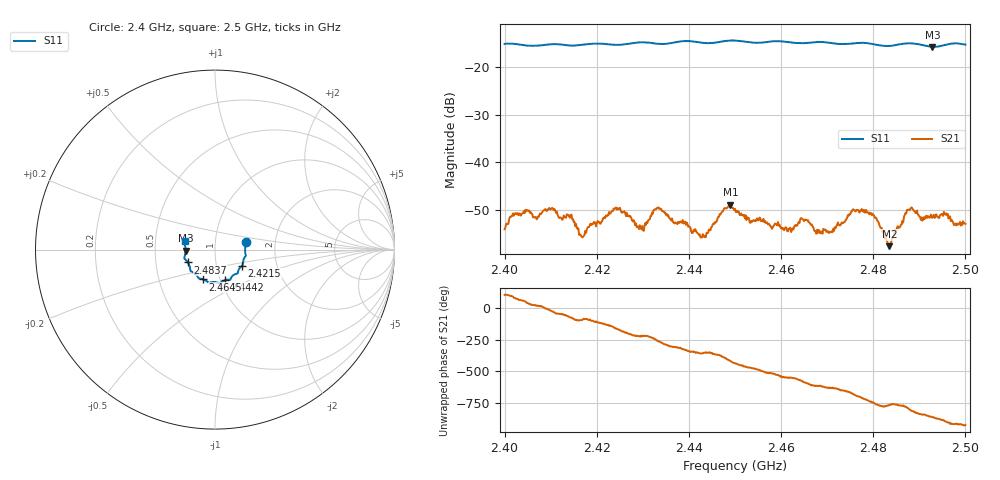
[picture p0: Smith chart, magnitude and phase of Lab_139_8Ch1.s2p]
# Hz S RI R 50
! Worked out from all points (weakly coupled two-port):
!   601 points, 2.4 GHz to 2.5 GHz, reference 50 ohm
!   highest |S21| = -48.88 dB at 2.449 GHz (marker M1); lowest = -57.6 dB at 2.4835 GHz (marker M2)
!   lowest |S11| = -15.7 dB at 2.4928 GHz (marker M3), VSWR 1.39, Z = 35.9 - j0.372 ohm
!   |S11| at or under -10 dB: start of sweep to end of sweep
!   S12 and S22 are empty: the file has one direction only
!   S11 on the Smith chart (normalised r, x): 2.4 GHz: 1.41, +0.12; 2.4215 GHz: 1.33, -0.25; 2.4442 GHz: 1.05, -0.37; 2.4645 GHz: 0.83, -0.29; 2.4837 GHz: 0.73, -0.11; 2.5 GHz: 0.71, +0.07
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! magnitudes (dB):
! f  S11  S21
! 2.4 GHz  -15.1  -54.1
! 2.41 GHz  -15.2  -49.9
! 2.4143 GHz  -15.5  -51.1
! 2.4167 GHz  -15.3  -55.6
! 2.4215 GHz  -15.1  -51.8
! 2.4247 GHz  -15.3  -49.9
! 2.4297 GHz  -14.8  -54.1
! 2.4333 GHz  -15.1  -49.5
! 2.4442 GHz  -15.0  -54.8
! 2.449 GHz  -14.4  -48.9
! 2.45 GHz  -14.4  -49.8
! 2.4618 GHz  -14.8  -53.9
! 2.4645 GHz  -15.0  -51.8
! 2.4667 GHz  -14.8  -53.1
! 2.4707 GHz  -14.9  -54.7
! 2.478 GHz  -14.9  -50.0
! 2.4833 GHz  -15.5  -57.4
! 2.4835 GHz  -15.5  -57.6
! 2.4837 GHz  -15.5  -57.4
! 2.4878 GHz  -15.0  -50.0
! 2.4928 GHz  -15.7  -51.7
! 2.5 GHz  -15.3  -52.9
